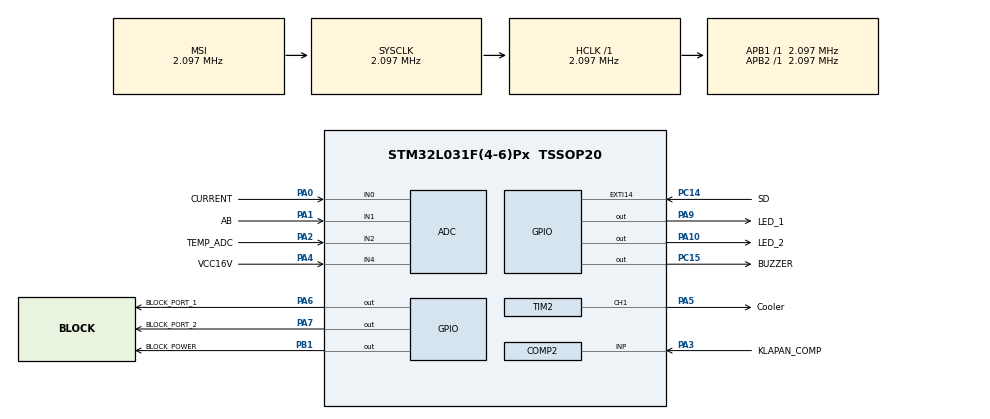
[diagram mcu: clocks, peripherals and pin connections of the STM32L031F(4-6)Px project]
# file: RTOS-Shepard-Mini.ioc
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ADC.ContinuousConvMode=ENABLE
ADC.DMAContinuousRequests=ENABLE
ADC.EOCSelection=ADC_EOC_SEQ_CONV
ADC.EnableAnalogWatchDog=true
ADC.HighThreshold=1150
ADC.ITMode=ENABLE
ADC.OversamplingMode=ENABLE
ADC.Ratio=ADC_OVERSAMPLING_RATIO_16
ADC.SamplingTime=ADC_SAMPLETIME_160CYCLES_5
COMP2.InvertingInput=COMP_INPUT_MINUS_VREFINT
COMP2.TriggerMode=COMP_TRIGGERMODE_IT_RISING_FALLING
Dma.ADC.0.Direction=DMA_PERIPH_TO_MEMORY
Dma.ADC.0.Instance=DMA1_Channel1
Dma.ADC.0.MemDataAlignment=DMA_MDATAALIGN_HALFWORD
Dma.ADC.0.MemInc=DMA_MINC_ENABLE
Dma.ADC.0.Mode=DMA_CIRCULAR
Dma.ADC.0.PeriphDataAlignment=DMA_PDATAALIGN_HALFWORD
Dma.ADC.0.PeriphInc=DMA_PINC_DISABLE
Dma.ADC.0.Priority=DMA_PRIORITY_VERY_HIGH
Dma.Request0=ADC
FREERTOS.Tasks01=Loop_Task,0,128,StartLoop_Task,Default,NULL,Dynamic,NULL,NULL;LED_Task,-1,128,StartLED_Task,Default,NULL,Dynamic,NULL,NULL;Buzzer_Task,-1,128,StartBuzzer_Task,Default,NULL,Dynamic,NULL,NULL;Cooler_Task,-1,128,StartCooler_Task,Default,NULL,Dynamic,NULL,NULL;AB_Task,-1,128,StartAB_Task,Default,NULL,Dynamic,NULL,NULL;TEMP_Task,-1,128,StartTEMP_Task,Default,NULL,Dynamic,NULL,NULL;LowPWR_Task,-1,128,StartLowPWR_Task,Default,NULL,Dynamic,NULL,NULL
FREERTOS.configTOTAL_HEAP_SIZE=4568
IWDG.Prescaler=IWDG_PRESCALER_256
Mcu.Family=STM32L0
Mcu.Name=STM32L031F(4-6)Px
Mcu.Package=TSSOP20
NVIC.ADC1_COMP_IRQn=true\:0\:0\:false\:false\:true\:false\:false\:true
NVIC.DMA1_Channel1_IRQn=true\:3\:0\:false\:false\:true\:true\:false\:true
NVIC.EXTI4_15_IRQn=true\:3\:0\:false\:false\:true\:true\:true\:true
NVIC.PVD_IRQn=true\:3\:0\:false\:false\:true\:true\:true\:true
PA0-CK_IN.GPIO_Label=CURRENT
PA0-CK_IN.Mode=IN0
PA0-CK_IN.Signal=ADC_IN0
PA1.GPIO_Label=AB
PA1.Mode=IN1
PA1.Signal=ADC_IN1
PA10.GPIO_Label=LED_2
PA10.Signal=GPIO_Output
PA13.GPIO_Label=SWDIO
PA13.Mode=Serial_Wire
PA13.Signal=SYS_SWDIO
PA14.GPIO_Label=SWCLK
PA14.Mode=Serial_Wire
PA14.Signal=SYS_SWCLK
PA2.GPIO_Label=TEMP_ADC
PA2.Mode=IN2
PA2.Signal=ADC_IN2
PA3.GPIO_Label=KLAPAN_COMP
PA3.Mode=INP
PA3.Signal=COMP2_INP
PA4.GPIO_Label=VCC16V
PA4.Mode=IN4
PA4.Signal=ADC_IN4
PA5.GPIO_Label=Cooler
PA5.GPIO_Speed=GPIO_SPEED_FREQ_VERY_HIGH
PA5.Signal=S_TIM2_CH1
PA6.GPIO_Label=BLOCK_PORT_1
PA6.GPIO_Speed=GPIO_SPEED_FREQ_VERY_HIGH
PA6.PinState=GPIO_PIN_SET
PA6.Signal=GPIO_Output
PA7.GPIO_Label=BLOCK_PORT_2
PA7.GPIO_Speed=GPIO_SPEED_FREQ_VERY_HIGH
PA7.PinState=GPIO_PIN_SET
PA7.Signal=GPIO_Output
PA9.GPIO_Label=LED_1
PA9.Signal=GPIO_Output
PB1.GPIO_Label=BLOCK_POWER
PB1.GPIO_Speed=GPIO_SPEED_FREQ_VERY_HIGH
PB1.Signal=GPIO_Output
PC14-OSC32_IN.GPIO_Label=SD
PC14-OSC32_IN.GPIO_ModeDefaultEXTI=GPIO_MODE_IT_RISING_FALLING
PC14-OSC32_IN.Signal=GPXTI14
PC15-OSC32_OUT.GPIO_Label=BUZZER
PC15-OSC32_OUT.PinState=GPIO_PIN_RESET
PC15-OSC32_OUT.Signal=GPIO_Output
ProjectManager.HeapSize=0x200
ProjectManager.StackSize=0x400
ProjectManager.TargetToolchain=STM32CubeIDE
RCC.AHBFreq_Value=2097000
RCC.APB1Freq_Value=2097000
RCC.APB1TimFreq_Value=2097000
RCC.APB2Freq_Value=2097000
RCC.APB2TimFreq_Value=2097000
RCC.HSE_VALUE=8000000
RCC.HSI16_VALUE=16000000
RCC.HSI_VALUE=16000000
RCC.LSE_VALUE=32768
RCC.MSI_VALUE=2097000
RCC.SYSCLKFreq_VALUE=2097000
RCC.VCOOutputFreq_Value=48000000
SH.S_TIM2_CH1.0=TIM2_CH1,PWM Generation1 CH1
SYS.Mode=PWR_PVD_MODE_IT_RISING_FALLING
SYS.PVDLevel=PWR_PVDLEVEL_4
TIM2.AutoReloadPreload=TIM_AUTORELOAD_PRELOAD_ENABLE
TIM2.Channel-PWM\ Generation1\ CH1=TIM_CHANNEL_1
TIM2.OCPolarity_1=TIM_OCPOLARITY_LOW
TIM2.Period=63999
TIM2.Prescaler=499
TIM2.Pulse-PWM\ Generation1\ CH1=0
VP_COMP2_VS_VREFINT.Mode=VREFINT
VP_FREERTOS_VS_CMSIS_V1.Mode=CMSIS_V1
VP_IWDG_VS_IWDG.Mode=IWDG_Activate
VP_SYS_V_PVD_IN.Mode=Mode_PVD_Int
VP_TIM2_VS_ClockSourceINT.Mode=Internal
board=custom

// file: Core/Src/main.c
/* USER CODE BEGIN Header */
/**
  ******************************************************************************
  * @file           : main.c
  * @brief          : Main program body
  ******************************************************************************
  * @attention
  *
  * <h2><center>&copy; Copyright (c) 2019 STMicroelectronics.
  * All rights reserved.</center></h2>
  *
  * This software component is licensed by ST under BSD 3-Clause license,
  * the "License"; You may not use this file except in compliance with the
  * License. You may obtain a copy of the License at:
  *                        opensource.org/licenses/BSD-3-Clause
  *
  ******************************************************************************
  */
/* USER CODE END Header */

#include "main.h"

void SystemClock_Config(void);
void MX_FREERTOS_Init(void);

int main(void)
{
  /* USER CODE BEGIN 1 */

	#ifdef DEBUG
		Enable_SH_DEBUG();
	#endif

  /* USER CODE END 1 */

  /* MCU Configuration--------------------------------------------------------*/

  /* Reset of all peripherals, Initializes the Flash interface and the Systick. */
  HAL_Init();

  /* Configure the system clock */
  SystemClock_Config();

  /* Initialize all configured peripherals */
  MX_GPIO_Init();
  MX_DMA_Init();
  MX_ADC_Init();
  MX_COMP2_Init();
  MX_IWDG_Init();
  MX_TIM2_Init();
  MX_SYS_Init();

  /* Call init function for freertos objects (in freertos.c) */
  MX_FREERTOS_Init();

  /* Start scheduler */
  osKernelStart();

  /* We should never get here as control is now taken by the scheduler */

  /* Infinite loop */
  while (1)
  {

  }
}

void SystemClock_Config(void)
{
  RCC_OscInitTypeDef RCC_OscInitStruct = {0};
  RCC_ClkInitTypeDef RCC_ClkInitStruct = {0};

  /** Configure the main internal regulator output voltage
  */
  __HAL_PWR_VOLTAGESCALING_CONFIG(PWR_REGULATOR_VOLTAGE_SCALE1);
  /** Initializes the CPU, AHB and APB busses clocks
  */
  RCC_OscInitStruct.OscillatorType = RCC_OSCILLATORTYPE_LSI|RCC_OSCILLATORTYPE_MSI;
  RCC_OscInitStruct.LSIState = RCC_LSI_ON;
  RCC_OscInitStruct.MSIState = RCC_MSI_ON;
  RCC_OscInitStruct.MSICalibrationValue = 0;
  RCC_OscInitStruct.MSIClockRange = RCC_MSIRANGE_5;
  RCC_OscInitStruct.PLL.PLLState = RCC_PLL_NONE;
  if (HAL_RCC_OscConfig(&RCC_OscInitStruct) != HAL_OK)
  {
    Error_Handler();
  }
  /** Initializes the CPU, AHB and APB busses clocks
  */
  RCC_ClkInitStruct.ClockType = RCC_CLOCKTYPE_HCLK|RCC_CLOCKTYPE_SYSCLK
                              |RCC_CLOCKTYPE_PCLK1|RCC_CLOCKTYPE_PCLK2;
  RCC_ClkInitStruct.SYSCLKSource = RCC_SYSCLKSOURCE_MSI;
  RCC_ClkInitStruct.AHBCLKDivider = RCC_SYSCLK_DIV1;
  RCC_ClkInitStruct.APB1CLKDivider = RCC_HCLK_DIV1;
  RCC_ClkInitStruct.APB2CLKDivider = RCC_HCLK_DIV1;

  if (HAL_RCC_ClockConfig(&RCC_ClkInitStruct, FLASH_LATENCY_0) != HAL_OK)
  {
    Error_Handler();
  }
}

void Error_Handler(void)
{
}

/************************ (C) COPYRIGHT STMicroelectronics *****END OF FILE****/

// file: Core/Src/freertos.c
/* USER CODE BEGIN Header */
/**
  ******************************************************************************
  * File Name          : freertos.c
  * Description        : Code for freertos applications
  ******************************************************************************
  * @attention
  *
  * <h2><center>&copy; Copyright (c) 2019 STMicroelectronics.
  * All rights reserved.</center></h2>
  *
  * This software component is licensed by ST under Ultimate Liberty license
  * SLA0044, the "License"; You may not use this file except in compliance with
  * the License. You may obtain a copy of the License at:
  *                             www.st.com/SLA0044
  *
  ******************************************************************************
  */
/* USER CODE END Header */

#include "FreeRTOS.h"
#include "task.h"

/* USER CODE BEGIN Includes */
#include "Sh.h"
/* USER CODE END Includes */

osThreadId Loop_TaskHandle;
osThreadId LED_TaskHandle;
osThreadId Buzzer_TaskHandle;
osThreadId Cooler_TaskHandle;
osThreadId AB_TaskHandle;
osThreadId TEMP_TaskHandle;
osThreadId LowPWR_TaskHandle;
osThreadId CUR_TaskHandle;

void StartLoop_Task(void const * argument);
void StartLED_Task(void const * argument);
void StartBuzzer_Task(void const * argument);
void StartCooler_Task(void const * argument);
void StartAB_Task(void const * argument);
void StartTEMP_Task(void const * argument);
void StartLowPWR_Task(void const * argument);
void StartCUR_Task(void const * argument);

void MX_FREERTOS_Init(void); /* (MISRA C 2004 rule 8.1) */

/* GetIdleTaskMemory prototype (linked to static allocation support) */
void vApplicationGetIdleTaskMemory( StaticTask_t **ppxIdleTaskTCBBuffer, StackType_t **ppxIdleTaskStackBuffer, uint32_t *pulIdleTaskStackSize );

/* USER CODE BEGIN GET_IDLE_TASK_MEMORY */
static StaticTask_t xIdleTaskTCBBuffer;
static StackType_t xIdleStack[configMINIMAL_STACK_SIZE];

void vApplicationGetIdleTaskMemory( StaticTask_t **ppxIdleTaskTCBBuffer, StackType_t **ppxIdleTaskStackBuffer, uint32_t *pulIdleTaskStackSize )
{
  *ppxIdleTaskTCBBuffer = &xIdleTaskTCBBuffer;
  *ppxIdleTaskStackBuffer = &xIdleStack[0];
  *pulIdleTaskStackSize = configMINIMAL_STACK_SIZE;
  /* place for user code */
}
/* USER CODE END GET_IDLE_TASK_MEMORY */

void MX_FREERTOS_Init(void) {

  /* Create the thread(s) */
  /* definition and creation of Loop_Task */
  osThreadDef(Loop_Task, StartLoop_Task, osPriorityNormal, 0, 128);
  Loop_TaskHandle = osThreadCreate(osThread(Loop_Task), NULL);

  /* definition and creation of LED_Task */
  osThreadDef(LED_Task, StartLED_Task, osPriorityNormal, 0, 128);
  LED_TaskHandle = osThreadCreate(osThread(LED_Task), NULL);

  /* definition and creation of Buzzer_Task */
  osThreadDef(Buzzer_Task, StartBuzzer_Task, osPriorityNormal, 0, 128);
  Buzzer_TaskHandle = osThreadCreate(osThread(Buzzer_Task), NULL);

  /* definition and creation of Cooler_Task */
  osThreadDef(Cooler_Task, StartCooler_Task, osPriorityNormal, 0, 128);
  Cooler_TaskHandle = osThreadCreate(osThread(Cooler_Task), NULL);

  /* definition and creation of AB_Task */
  osThreadDef(AB_Task, StartAB_Task, osPriorityNormal, 0, 128);
  AB_TaskHandle = osThreadCreate(osThread(AB_Task), NULL);

  /* definition and creation of TEMP_Task */
  osThreadDef(TEMP_Task, StartTEMP_Task, osPriorityNormal, 0, 128);
  TEMP_TaskHandle = osThreadCreate(osThread(TEMP_Task), NULL);

  /* definition and creation of LowPWR_Task */
  osThreadDef(LowPWR_Task, StartLowPWR_Task, osPriorityNormal, 0, 128);
  LowPWR_TaskHandle = osThreadCreate(osThread(LowPWR_Task), NULL);

  /* definition and creation of INV_Task */
  osThreadDef(CUR_Task, StartCUR_Task, osPriorityNormal, 0, 128);
  CUR_TaskHandle = osThreadCreate(osThread(CUR_Task), NULL);

}

void StartLoop_Task(void const * argument)
{
  /* USER CODE BEGIN StartLoop_Task */
  /* Infinite loop */

  uint32_t restart_stamp=0;

  INV_STATE=0;
  ShutDown_with_Power_Off();

  /* ###  - Start conversion in DMA mode ################################# */
  HAL_ADC_Start_DMA(&hadc,(uint32_t *)aADCxConvertedData,ADC_CONVERTED_DATA_BUFFER_SIZE);

  /* ###  - Start COMP ################################# */
  HAL_COMP_Start(&hcomp2);

  HAL_GPIO_EXTI_Callback(SD_Pin);

  for(;;)
  {
	if ((Blocked_by_AB==0) && (Blocked_by_Perek==0) && (Blocked_by_PVD==0) && (Blocked_by_TEMP==0)
			&& (Blocked_by_Klapan==0) && (Blocked_by_150==0) ) {
		if (INV_STATE!=1) {
			INV_STATE=1;
			Enable_INV();
		}
		KLAPAN_SIGN=0;
		restart_stamp=0;
	} else {
		if (INV_STATE!=0) {
			INV_STATE=0;
			restart_stamp=0;
			ShutDown_with_Power_On();
					if ((Blocked_by_Klapan==1) && (Blocked_by_150==1)) {
						//HAL_GPIO_WritePin(BLOCK_POWER_GPIO_Port, BLOCK_POWER_Pin, GPIO_PIN_SET);
						GPIOB->BSRR  = GPIO_BSRR_BS_1;
					}
		}
		if ( (Blocked_by_Klapan==1) && (KLAPAN_SIGN==0)) {
			KLAPAN_SIGN=1;
			LED_Blink_X(BUZZER_GPIO_Port,BUZZER_Pin,10,300);
		}
		if ( (Blocked_by_150==1) && (KLAPAN_SIGN==0)) {
			KLAPAN_SIGN=1;
			LED_Blink_X(BUZZER_GPIO_Port,BUZZER_Pin,10,1);
		}
		if ((Blocked_by_AB==0) && (Blocked_by_PVD==0) && (Blocked_by_TEMP==0)
				&& (Blocked_by_Perek==1) ) {
			if (restart_stamp==0) {
				restart_stamp=xTaskGetTickCount();
			}

					if (CheckStamp(restart_stamp,RESTART_MAX_LENGTH)==1) {
						//HAL_GPIO_WritePin(BLOCK_POWER_GPIO_Port, BLOCK_POWER_Pin, GPIO_PIN_SET);
						GPIOB->BSRR  = GPIO_BSRR_BS_1;
						Blocked_by_Klapan=0;
						Blocked_by_150=0;
						Blocked_by_Klapan_CNT=0;
						osDelay(1000);
						//HAL_GPIO_WritePin(BLOCK_POWER_GPIO_Port, BLOCK_POWER_Pin, GPIO_PIN_RESET);
						GPIOB->BRR  = GPIO_BRR_BR_1;
					}

		} else {
			restart_stamp=0;
		}
	}

	taskYIELD();
  }
  /* USER CODE END StartLoop_Task */
}

void StartLED_Task(void const * argument)
{
  /* USER CODE BEGIN StartLED_Task */
  /* Infinite loop */
  for(;;)
  {
	// RESET IWDG
	IWDG_Reset();

	// STAT LED
	if ((Blocked_by_AB==1) || (Blocked_by_LPWR==1) || (Blocked_by_PVD==1) || (Blocked_by_TEMP==1)) {
		LED_Blink(LED_1_GPIO_Port,LED_1_Pin,10);
		osDelay(100);
	} else {
			if (Blocked_by_Perek==1) {
				LED_Blink_X(LED_1_GPIO_Port,LED_1_Pin,1,10);
				osDelay(1000);
			} else {
				LED_Blink(LED_1_GPIO_Port,LED_1_Pin,500);
				osDelay(500);
			}
	}

  }
  /* USER CODE END StartLED_Task */
}

void StartBuzzer_Task(void const * argument)
{
  /* USER CODE BEGIN StartBuzzer_Task */
  /* Infinite loop */
  uint32_t buzzer_stamp=xTaskGetTickCount();

  while ((Global_AB<AB_COLDRUN) && (Blocked_by_Perek==0))  {
	  if (xTaskGetTickCount()-buzzer_stamp<=BUZZER_MAX_LENGTH*1000) {
		  LED_Blink(BUZZER_GPIO_Port,BUZZER_Pin,1);
	  }
	  osDelay(3000);
  }

  LED_Blink(BUZZER_GPIO_Port,BUZZER_Pin,100);

  buzzer_stamp=0;

  for(;;)
  {
			if (  ((Blocked_by_Perek==0) && ((Global_AB>=AB_LOW) && ((Global_AB<=BUZZER_OPORA_MAX) || (Global_AB>=AB_MAX)) ) )
					|| ((Blocked_by_Perek==1) &&  (Global_AB>=AB_MAX) )
					|| (Blocked_by_TEMP==1) ) {
				if (buzzer_stamp==0) {
					buzzer_stamp=xTaskGetTickCount();
				}
				if (CheckStamp(buzzer_stamp,BUZZER_MAX_LENGTH)==0) {
					LED_Blink_X(BUZZER_GPIO_Port,BUZZER_Pin,3,300);
				}
				osDelay(2500);
			}
			if ((buzzer_stamp!=0) && (Global_AB>=AB_COLDRUN) &&  (Global_AB<AB_COLDRUN_FROM_MAX)) {
				LED_Blink_X(BUZZER_GPIO_Port,BUZZER_Pin,6,100);
				buzzer_stamp=0;
			}

			osDelay(1);

  }
  /* USER CODE END StartBuzzer_Task */
}

void StartCooler_Task(void const * argument)
{
  /* USER CODE BEGIN StartCooler_Task */
  /* Infinite loop */
  uint32_t cooler_stamp=0;

  HAL_TIM_PWM_Start(&htim2, TIM_CHANNEL_1) ;
  osDelay(1000);

  for(;;)
  {
	if (Blocked_by_TEMP==1) {
		__HAL_TIM_SET_COMPARE(&htim2, TIM_CHANNEL_1, PULSE100_VALUE);
		cooler_stamp=0;
		osDelay(10000);
	} else {
		if (Blocked_by_Perek==1) {
			if ((Global_TEMP>TEMP_ROLLBACK) && (Global_TEMP<TEMP_COLRSTART)) {
				__HAL_TIM_SET_COMPARE(&htim2, TIM_CHANNEL_1, PULSE20_VALUE);
				cooler_stamp=0;
			}
			if (Global_TEMP>=TEMP_COLRSTART) {
				__HAL_TIM_SET_COMPARE(&htim2, TIM_CHANNEL_1, PULSE40_VALUE);
				cooler_stamp=0;
			}
			if ((Global_TEMP<=TEMP_ROLLBACK) && (__HAL_TIM_GET_COMPARE(&htim2, TIM_CHANNEL_1)!=0)) {
				if (cooler_stamp==0) {
					cooler_stamp=xTaskGetTickCount();
				}
				if (CheckStamp(cooler_stamp,COOLER_MAX_LENGTH)==1)  {
					__HAL_TIM_SET_COMPARE(&htim2, TIM_CHANNEL_1, 0);
					cooler_stamp=0;
					LED_Blink_X(BUZZER_GPIO_Port,BUZZER_Pin,4,100);
				}
			}
			osDelay(1000);
		} else {
			if ((Global_Power>=50) || (Global_TEMP>TEMP_COLRSTART)) {
				__HAL_TIM_SET_COMPARE(&htim2, TIM_CHANNEL_1, PULSE100_VALUE);
				cooler_stamp=0;
			} else {
				if ( ((Global_Power>=25) && (Global_Power<50)) || ((Global_TEMP>TEMP_ROLLBACK) && (Global_TEMP<TEMP_COLRSTART))) {
					__HAL_TIM_SET_COMPARE(&htim2, TIM_CHANNEL_1, PULSE70_VALUE);
					cooler_stamp=0;
				} else {
					__HAL_TIM_SET_COMPARE(&htim2, TIM_CHANNEL_1, PULSE40_VALUE);
					cooler_stamp=0;
				}
			}
			osDelay(3000);
		}
	}
	taskYIELD();
  }
  /* USER CODE END StartCooler_Task */
}

void StartAB_Task(void const * argument)
{
  /* USER CODE BEGIN StartAB_Task */
  /* Infinite loop */
  uint32_t ab_stamp=0;
	while ( (Global_AB<AB_COLDRUN) && (Blocked_by_Perek==0)) {
		  Blocked_by_AB=1;
		  osDelay(1000);
	  }

  Blocked_by_AB=0;

  for(;;)
  {
	/*while(ADC_FLAG_AB==0) {
		taskYIELD();
	}
	ADC_FLAG_AB=0;*/
	//

	if ( (Blocked_by_AB==0) && ((Global_AB<=AB_LOW)  || (Global_AB>=AB_MAX) ) ) {
		Blocked_by_AB=1;
		ab_stamp=0;
		LED_Blink_X(BUZZER_GPIO_Port,BUZZER_Pin,4,100);
		osDelay(3000);
	}
	if ( (Blocked_by_AB==1) && (Global_AB>=AB_ROLLBACK) &&   (Global_AB<=AB_COLDRUN_FROM_MAX) ) {
		if (ab_stamp==0) {
			ab_stamp=xTaskGetTickCount();
		}
		if ((CheckStamp(ab_stamp,AB_MAX_LENGTH)==1) || (Blocked_by_Perek==1)) {
			 Blocked_by_AB=0;
			 ab_stamp=0;
			 LED_Blink_X(BUZZER_GPIO_Port,BUZZER_Pin,4,100);
		}
	} else {
		ab_stamp=0;
	}

	taskYIELD();
  }
  /* USER CODE END StartAB_Task */
}

void StartTEMP_Task(void const * argument)
{
  /* USER CODE BEGIN StartTEMP_Task */
  /* Infinite loop */
  uint32_t temp_stamp=0;

  while (Global_TEMP>=TEMP_COLRSTART) {
		  Blocked_by_TEMP=1;
		  osDelay(1000);
  }

  Blocked_by_TEMP=0;

  for(;;)
  {
	  /*while(ADC_FLAG_TEMP==0) {
		  taskYIELD();
	  }
	  ADC_FLAG_TEMP=0;*/
	  //

	    if (Global_TEMP<TEMP_MAX) {
		  if ((Blocked_by_TEMP==1) && (Global_TEMP<=TEMP_ROLLBACK)) {
			  if (temp_stamp==0) {
				  temp_stamp=xTaskGetTickCount();
			  }
			  if (CheckStamp(temp_stamp,TEMP_DELAY_LENGTH)==1) {
				  Blocked_by_TEMP=0;
				  temp_stamp=0;
			 }
		  } else {
			  Blocked_by_TEMP=0;
			  temp_stamp=0;
		  }
	    } else {
	  	  Blocked_by_TEMP=1;
	  	  temp_stamp=0;
	  	  osDelay(TEMP_ROLLBACK_DELAY_LENGTH*1000); //sec
	    }
	    taskYIELD();
  }
  /* USER CODE END StartTEMP_Task */
}

void StartLowPWR_Task(void const * argument)
{
  /* USER CODE BEGIN StartLowPWR_Task */
  /* Infinite loop */
   uint32_t lpwr_stamp=0;

	while (((Global_16V<LPWR_MIN) || (Global_16V>LPWR_MAX)) && (Blocked_by_Perek==0) ) {
		  Blocked_by_LPWR=1;
		  osDelay(1000);
	}

	Blocked_by_LPWR=0;

  for(;;)
  {
	   /*while(ADC_FLAG_16V==0) {
		   taskYIELD();
	   }
	   ADC_FLAG_16V=0;*/
	   //

	   if (Blocked_by_Perek==1) {
		   Blocked_by_LPWR=0;
		   lpwr_stamp=0;
	   } else {
		   if ((Global_16V<LPWR_MIN) || (Global_16V>LPWR_MAX))  {
			   if ((lpwr_stamp==0) && (Blocked_by_LPWR==0)) {
			   	lpwr_stamp=xTaskGetTickCount();
			   }
			   if (CheckStamp(lpwr_stamp,LPWR_DELAY_LENGTH)==1) {
				   Blocked_by_LPWR=1;
				   lpwr_stamp=0;
			   }
		   } else {
			   if ((lpwr_stamp==0) && (Blocked_by_LPWR==1)) {
				   lpwr_stamp=xTaskGetTickCount();
			   }
			   if (CheckStamp(lpwr_stamp,LPWR_DELAY_LENGTH)==1) {
				    Blocked_by_LPWR=0;
			   		lpwr_stamp=0;
			   }
		   }
	  }
	  taskYIELD();
  }
  /* USER CODE END StartLowPWR_Task */
}

/* USER CODE BEGIN Header_StartCUR_Task */
/* USER CODE END StartCUR_Task */
void StartCUR_Task(void const * argument)
{
  /* USER CODE BEGIN StartLowPWR_Task */
  /* Infinite loop */

  uint32_t polka_stamp=xTaskGetTickCount();
  double CUR_CHECK_SUMATOR=0;

  for(;;)
  {
	  /*while(ADC_FLAG_CUR==0) {
		  taskYIELD();
	  }
	  ADC_FLAG_CUR=0;*/
	  //

	  if (xTaskGetTickCount()-polka_stamp>250) {
	  	  		  	  	  	  // CUR LED
	  	  		  			  if ( (Blocked_by_Klapan==1) || (Blocked_by_150==1)) {
	  	  		  				  //LED_Blink(LED_2_GPIO_Port,LED_2_Pin,500);
	  	  		  				  //osDelay(500);
	  	  		  				  HAL_GPIO_TogglePin(LED_2_GPIO_Port,LED_2_Pin);
	  	  		  			  } else {
	  	  		  				  if (Global_Power<50) {
	  	  		  					  //HAL_GPIO_WritePin(LED_2_GPIO_Port,LED_2_Pin, GPIO_PIN_RESET);
	  	  		  					  GPIOA->BRR  = GPIO_BRR_BR_10;

	  	  		  				  }
	  	  		  				  if (Global_Power>=50) {
	  	  		  					  GPIOA->BSRR  = GPIO_BSRR_BS_10;
	  	  		  				  }
	  	  		  			  }
	  	  	  }

	  if (CheckStamp(polka_stamp,ADC_POLKA105_DELAY)==1) {

		  if (Global_Power_Ind==0) {
			  CUR_CHECK_SUMATOR=(double) (Global_Power_Sumator);
		  } else {
			  CUR_CHECK_SUMATOR=(double) (Global_Power_Sumator/Global_Power_Ind);
		  }

		  Global_Power_Ind=0;
		  Global_Power_Sumator=0;

		  CUR_CHECK_SUMATOR=sqrt(CUR_CHECK_SUMATOR);
		  //if (CUR_CHECK_SUMATOR>=POLKA_105) {
		  if (CUR_CHECK_SUMATOR>=POLKA_LEVEL) {
			  Blocked_by_150=1;
		  }

		  if( (CUR_CHECK_SUMATOR<POLKA_95) && (Blocked_by_Klapan_CNT<=KLAPAN_CNT) ) {
			  Blocked_by_Klapan_CNT=0;
		  }

		  Global_Power=(uint32_t) ((CUR_CHECK_SUMATOR*100)/POLKA_LEVEL);

		  	/*  if (CUR_CHECK_SUMATOR>=POLKA_75) {
		  		  Global_Power=100;
		  	  }
		  	  if ((CUR_CHECK_SUMATOR>=POLKA_50) && (CUR_CHECK_SUMATOR<POLKA_75)) {
		  	  		 Global_Power=70;
		  	  }
		  	  if ((CUR_CHECK_SUMATOR>=POLKA_25) && (CUR_CHECK_SUMATOR<POLKA_50)) {
		  	  	  	Global_Power=40;
		  	  }
		  	  if (CUR_CHECK_SUMATOR<POLKA_25)  {
		  	  	  Global_Power=20;
		  	  }
			*/

		  polka_stamp=xTaskGetTickCount();
	  }
	  //

	  /*if ((Global_Power>75) || (Blocked_by_Klapan==1) || (Blocked_by_150==1)) {
			  		HAL_GPIO_WritePin(LED_2_GPIO_Port,LED_2_Pin, GPIO_PIN_SET);
			  	} else {
					if ((Global_Power<75) && (Global_Power>=50)) {
						LED_Blink(LED_2_GPIO_Port,LED_2_Pin,500);
						osDelay(500);
					}
					if ((Global_Power<50) && (Global_Power>=25)) {
						LED_Blink(LED_2_GPIO_Port,LED_2_Pin,10);
						osDelay(1000);
					}
					if (Global_Power<25) {
						HAL_GPIO_WritePin(LED_2_GPIO_Port,LED_2_Pin, GPIO_PIN_RESET);
					}

			  	}*/

		taskYIELD();
  }
  /* USER CODE END StartCUR_Task */
}

/************************ (C) COPYRIGHT STMicroelectronics *****END OF FILE****/
